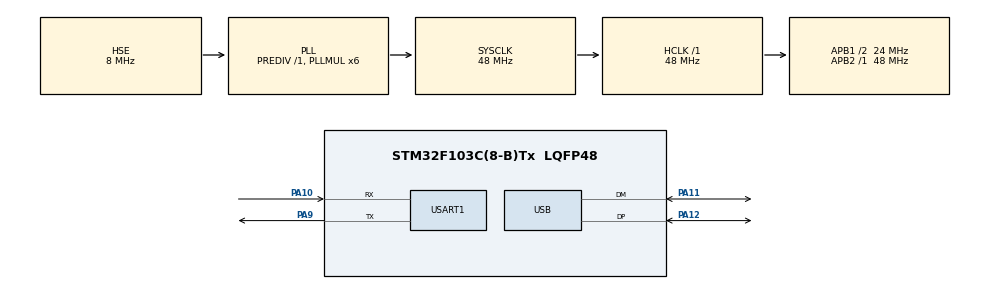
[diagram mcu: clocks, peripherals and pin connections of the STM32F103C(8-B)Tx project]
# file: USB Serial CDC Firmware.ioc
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Mcu.Family=STM32F1
Mcu.Name=STM32F103C(8-B)Tx
Mcu.Package=LQFP48
NVIC.PriorityGroup=NVIC_PRIORITYGROUP_4
NVIC.USB_LP_CAN1_RX0_IRQn=true\:0\:0\:false\:false\:true\:false\:true\:true
PA10.Mode=Asynchronous
PA10.Signal=USART1_RX
PA11.Mode=Device
PA11.Signal=USB_DM
PA12.Mode=Device
PA12.Signal=USB_DP
PA13.Mode=Serial_Wire
PA13.Signal=SYS_JTMS-SWDIO
PA14.Mode=Serial_Wire
PA14.Signal=SYS_JTCK-SWCLK
PA9.Mode=Asynchronous
PA9.Signal=USART1_TX
PD0-OSC_IN.Mode=HSE-External-Oscillator
PD0-OSC_IN.Signal=RCC_OSC_IN
PD1-OSC_OUT.Mode=HSE-External-Oscillator
PD1-OSC_OUT.Signal=RCC_OSC_OUT
ProjectManager.HeapSize=0x200
ProjectManager.StackSize=0x400
ProjectManager.TargetToolchain=STM32CubeIDE
RCC.AHBFreq_Value=48000000
RCC.APB1CLKDivider=RCC_HCLK_DIV2
RCC.APB1Freq_Value=24000000
RCC.APB1TimFreq_Value=48000000
RCC.APB2Freq_Value=48000000
RCC.APB2TimFreq_Value=48000000
RCC.HCLKFreq_Value=48000000
RCC.PLLMUL=RCC_PLL_MUL6
RCC.SYSCLKFreq_VALUE=48000000
RCC.SYSCLKSource=RCC_SYSCLKSOURCE_PLLCLK
RCC.USBFreq_Value=48000000
USART1.VirtualMode=VM_ASYNC
USB_DEVICE.CLASS_NAME_FS=CDC
USB_DEVICE.VirtualMode=Cdc
USB_DEVICE.VirtualModeFS=Cdc_FS
VP_USB_DEVICE_VS_USB_DEVICE_CDC_FS.Mode=CDC_FS
board=custom

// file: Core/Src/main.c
/* USER CODE BEGIN Header */
/**
 ******************************************************************************
 * @file           : main.c
 * @brief          : Main program body
 ******************************************************************************
 * @attention
 *
 * Copyright (c) 2024 STMicroelectronics.
 * All rights reserved.
 *
 * This software is licensed under terms that can be found in the LICENSE file
 * in the root directory of this software component.
 * If no LICENSE file comes with this software, it is provided AS-IS.
 *
 ******************************************************************************
 */
/* USER CODE END Header */
#include "main.h"
#include "usb_device.h"

/* USER CODE BEGIN Includes */
#include "usbd_cdc_if.h"
#include "string.h"
#include "cdc_printf.h"
/* USER CODE END Includes */

UART_HandleTypeDef huart1;

/* USER CODE BEGIN PV */

char *data = "This is STM32 CDC Serial Test\n";
char buffer[64];

/* USER CODE END PV */

void SystemClock_Config(void);
static void MX_GPIO_Init(void);
static void MX_USART1_UART_Init(void);
/* USER CODE BEGIN PFP */
#define PUTCHAR_PROTOTYPE int __io_putchar(int ch)
/* USER CODE END PFP */

int main(void)
{

  /* MCU Configuration--------------------------------------------------------*/

  /* Reset of all peripherals, Initializes the Flash interface and the Systick. */
  HAL_Init();

  /* Configure the system clock */
  SystemClock_Config();

  /* Initialize all configured peripherals */
  MX_GPIO_Init();
  MX_USB_DEVICE_Init();
  MX_USART1_UART_Init();

  /* Infinite loop */
  /* USER CODE BEGIN WHILE */

	printf("###############-----------Code Started-----------###############\n\r");
	CDC_Transmit_FS((uint8_t*) data, strlen(data));
	while (1) {
		if (strlen(buffer) > 0) {
			CDC_printf("Data Len: %d >- %s\n\r", strlen(buffer),buffer);
			printf("CDC Len: %d >- %s\n\r", strlen(buffer),buffer);
			memset(buffer, '\0', 64);  // clear the buffer
		}

    /* USER CODE END WHILE */

	}
}

void SystemClock_Config(void)
{
  RCC_OscInitTypeDef RCC_OscInitStruct = {0};
  RCC_ClkInitTypeDef RCC_ClkInitStruct = {0};
  RCC_PeriphCLKInitTypeDef PeriphClkInit = {0};

  /** Initializes the RCC Oscillators according to the specified parameters
  * in the RCC_OscInitTypeDef structure.
  */
  RCC_OscInitStruct.OscillatorType = RCC_OSCILLATORTYPE_HSE;
  RCC_OscInitStruct.HSEState = RCC_HSE_ON;
  RCC_OscInitStruct.HSEPredivValue = RCC_HSE_PREDIV_DIV1;
  RCC_OscInitStruct.HSIState = RCC_HSI_ON;
  RCC_OscInitStruct.PLL.PLLState = RCC_PLL_ON;
  RCC_OscInitStruct.PLL.PLLSource = RCC_PLLSOURCE_HSE;
  RCC_OscInitStruct.PLL.PLLMUL = RCC_PLL_MUL6;
  if (HAL_RCC_OscConfig(&RCC_OscInitStruct) != HAL_OK)
  {
    Error_Handler();
  }

  /** Initializes the CPU, AHB and APB buses clocks
  */
  RCC_ClkInitStruct.ClockType = RCC_CLOCKTYPE_HCLK|RCC_CLOCKTYPE_SYSCLK
                              |RCC_CLOCKTYPE_PCLK1|RCC_CLOCKTYPE_PCLK2;
  RCC_ClkInitStruct.SYSCLKSource = RCC_SYSCLKSOURCE_PLLCLK;
  RCC_ClkInitStruct.AHBCLKDivider = RCC_SYSCLK_DIV1;
  RCC_ClkInitStruct.APB1CLKDivider = RCC_HCLK_DIV2;
  RCC_ClkInitStruct.APB2CLKDivider = RCC_HCLK_DIV1;

  if (HAL_RCC_ClockConfig(&RCC_ClkInitStruct, FLASH_LATENCY_1) != HAL_OK)
  {
    Error_Handler();
  }
  PeriphClkInit.PeriphClockSelection = RCC_PERIPHCLK_USB;
  PeriphClkInit.UsbClockSelection = RCC_USBCLKSOURCE_PLL;
  if (HAL_RCCEx_PeriphCLKConfig(&PeriphClkInit) != HAL_OK)
  {
    Error_Handler();
  }
}

static void MX_USART1_UART_Init(void)
{

  huart1.Instance = USART1;
  huart1.Init.BaudRate = 115200;
  huart1.Init.WordLength = UART_WORDLENGTH_8B;
  huart1.Init.StopBits = UART_STOPBITS_1;
  huart1.Init.Parity = UART_PARITY_NONE;
  huart1.Init.Mode = UART_MODE_TX_RX;
  huart1.Init.HwFlowCtl = UART_HWCONTROL_NONE;
  huart1.Init.OverSampling = UART_OVERSAMPLING_16;
  if (HAL_UART_Init(&huart1) != HAL_OK)
  {
    Error_Handler();
  }

}

static void MX_GPIO_Init(void)
{

  /* GPIO Ports Clock Enable */
  __HAL_RCC_GPIOD_CLK_ENABLE();
  __HAL_RCC_GPIOA_CLK_ENABLE();

}

/* USER CODE BEGIN 4 */
/**
 * @brief  Retargets the C library printf function to the USART.
 *   None
 * @retval None
 */
PUTCHAR_PROTOTYPE {
	/* Place your implementation of fputc here */
	/* e.g. write a character to the USART1 and Loop until the end of transmission */
	HAL_UART_Transmit(&huart1, (uint8_t*) &ch, 1, 0xFFFF);

	return ch;
}
/* USER CODE END 4 */

void Error_Handler(void)
{
	__disable_irq();
	while (1) {
	}
}
